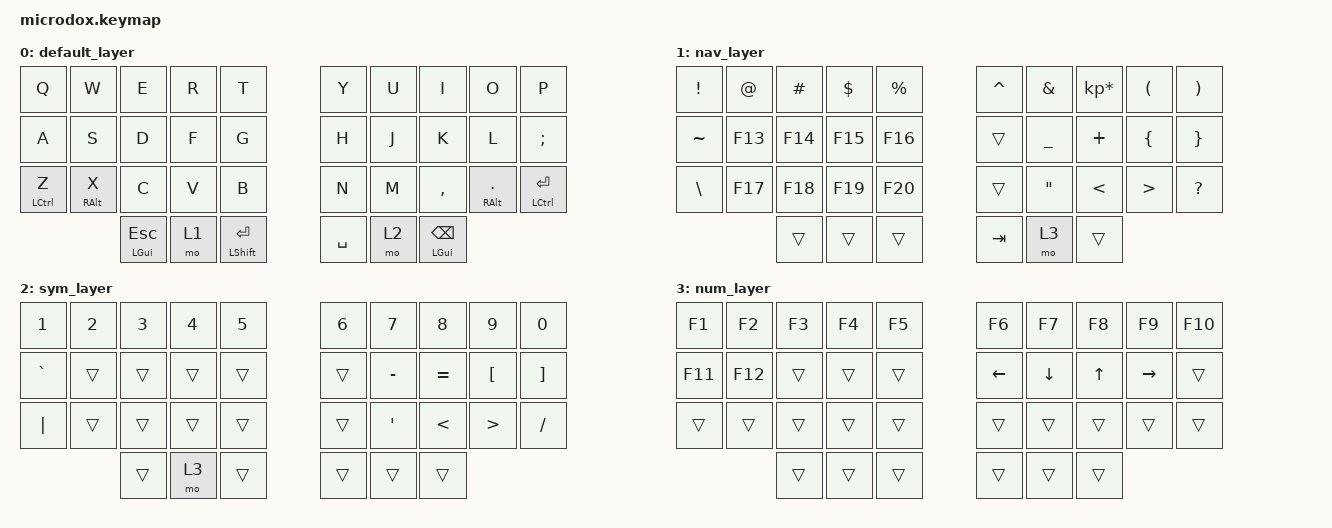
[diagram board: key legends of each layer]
/*
 * Copyright (c) 2020 The ZMK Contributors
 *
 * SPDX-License-Identifier: MIT
 */

#include <behaviors.dtsi>
#include <dt-bindings/zmk/keys.h>
#include <dt-bindings/zmk/bt.h>

/ {
        behaviors {
            sands: space_and_shift {
                compatible = "zmk,behavior-hold-tap";
                label = "SPACE_AND_SHIFT";
                #binding-cells = <2>;
                flavor = "hold-preferred";
                tapping-term-ms = <200>;
                quick-tap-ms = <125>;
                global-quick-tap;
                bindings = <&kp>, <&kp>;
            };
        };

        keymap {
                compatible = "zmk,keymap";

                default_layer {
// -----------------------------------------------------------------------------------------
// |  Q  |  W  |  E  |  R  |  T   |   |  Y  |  U   |  I  |  O  |  P  |
// |  A  |  S  |  D  |  F  |  G   |   |  H  |  J   |  K  |  L  |  ;  |
// |  Z  |  X  |  C  |  V  |  B   |   |  N  |  M   |  ,  |  .  | ENT |
//             | GUI | NAV | SHFT |   | SPC | SYM  | BKSP|
                        bindings = <
   &kp Q                  &kp W         &kp E &kp R &kp T    &kp Y     &kp U &kp I     &kp O           &kp P
   &kp A                  &kp S         &kp D &kp F &kp G    &kp H     &kp J &kp K     &kp L           &kp SEMI
   &sands LCTRL Z         &sands RALT X &kp C &kp V &kp B    &kp N     &kp M &kp COMMA &sands RALT DOT &sands LCTRL RET
          &sands LGUI ESC &mo 1         &sands LSHFT RET     &kp SPACE &mo 2 &sands LGUI BSPC
                        >;
                };
                nav_layer {
// -----------------------------------------------------------------------------------------
// |  !  |  @  |  #  |  $   |  %  |   |  ^  |  &   |  *   |  (  |  )   |
// | BT1 | GUI | ALT | CTRL | NUM |   |  /  | LEFT | DOWN | RGT | BKSP |
// | BT2 |     |     |      |     |   |  \  | ENT  |      |     |      |
//             |     |      |     |   |     |      |      |
                        bindings = <
   &kp EXCL  &kp AT  &kp HASH &kp DLLR &kp PRCNT  &kp CARET &kp AMPS  &kp KP_MULTIPLY &kp LPAR  &kp RPAR
   &kp TILDE &kp F13 &kp F14  &kp F15  &kp F16    &trans    &kp UNDER &kp PLUS        &kp LBRC  &kp RBRC
   &kp BSLH  &kp F17 &kp F18  &kp F19  &kp F20    &trans    &kp DQT   &kp LT          &kp GT    &kp QMARK
                     &trans   &trans   &trans     &kp TAB   &mo 3     &trans
                        >;
                };

                sym_layer {
// -----------------------------------------------------------------------------------------
// |  1  |  2  |  3  |  4  |  5  |   |  6  |  7  |  8  |  9  |  0  |
// |     |     |     |     |     |   |  -  |  =  |  [  |  ]  | "|" |
// |     |     |     |     |     |   |  _  |  +  |  [  |  ]  |  \  |
//             | GUI |     | SPC |   | ENT |     | ALT |
                        bindings = <
   &kp N1    &kp N2    &kp N3    &kp N4    &kp N5      &kp N6    &kp N7    &kp N8    &kp N9   &kp N0 
   &kp GRAVE &trans    &trans    &trans    &trans      &trans    &kp MINUS &kp EQUAL &kp LBKT &kp RBKT
   &kp PIPE  &trans    &trans    &trans    &trans      &trans    &kp SQT   &kp LT    &kp GT   &kp FSLH
                       &trans    &mo 3     &trans      &trans    &trans    &trans
                        >;
                };

// This layer is unreachable until "tri layer state" is sorted out.
// Leaving it here for completeness.
                num_layer {
// -----------------------------------------------------------------------------------------
// |     |     |     |     |     |   |  A  |  7  |  8  |  9  |  D  |
// |     |     |     |     |     |   |  B  |  4  |  5  |  6  |  E  |
// |     |     |     |     |     |   |  C  |  1  |  2  |  3  |  F  |
//             |     |     |     |   |  0  |  .  |     |
                        bindings = <
   &kp F1  &kp F2  &kp F3 &kp F4 &kp F5    &kp F6    &kp F7   &kp F8 &kp F9    &kp F10
   &kp F11 &kp F12 &trans &trans &trans    &kp LEFT  &kp DOWN &kp UP &kp RIGHT &trans
   &trans  &trans  &trans &trans &trans    &trans    &trans   &trans &trans &trans
                   &trans &trans &trans    &trans    &trans   &trans
                        >;
                };
        };
};
